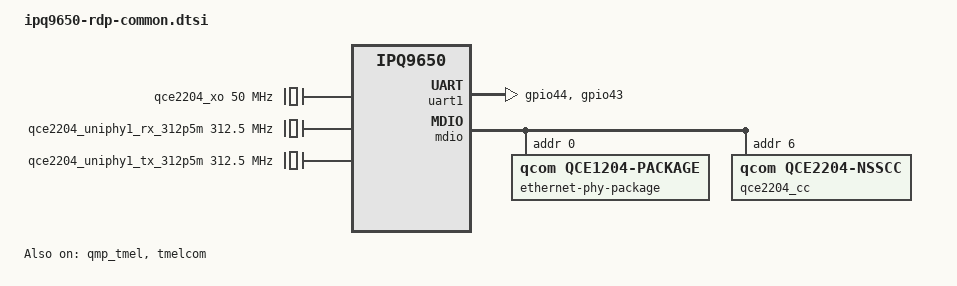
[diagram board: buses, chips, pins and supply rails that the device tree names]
// SPDX-License-Identifier: (GPL-2.0+ OR BSD-3-Clause)
/*
 * IPQ9650 RDP board common device tree source
 *
 * Copyright (c) 2020-2021 The Linux Foundation. All rights reserved.
 * Copyright (c) Qualcomm Technologies, Inc. and/or its subsidiaries.
 */

/dts-v1/;

#include <dt-bindings/clock/qcom,qce2204-nsscc.h>
#include <dt-bindings/reset/qcom,qce2204-nsscc.h>
#include <dt-bindings/gpio/gpio.h>
#include <dt-bindings/input/input.h>

#include "ipq9650.dtsi"

/ {
	aliases {
		serial0 = &uart1;
	};

	chosen {
		stdout-path = "serial0";
		bootargs-append = " clk_ignore_unused";
	};

	clocks {
		qce2204_xo: qce2204-xo {
			compatible = "fixed-clock";
			clock-frequency = <50000000>;
			#clock-cells = <0>;
		};

		qce2204_uniphy1_rx_312p5m: qce2204-uniphy1-rx-312p5m {
			compatible = "fixed-clock";
			clock-frequency = <312500000>;
			#clock-cells = <0>;
		};

		qce2204_uniphy1_tx_312p5m: qce2204-uniphy1-tx-312p5m {
			compatible = "fixed-clock";
			clock-frequency = <312500000>;
			#clock-cells = <0>;
		};
	};

	gpio-keys {
		compatible = "gpio-keys";
		pinctrl-0 = <&gpio_keys_default>;
		pinctrl-names = "default";
		status = "disabled";

		button-wps {
			label = "wps";
			linux,code = <KEY_WPS_BUTTON>;
			gpios = <&tlmm 19 GPIO_ACTIVE_LOW>;
			debounce-interval = <60>;
		};
	};

	soc@0 {
		qupv3: geniqup@1ac0000 {
			status = "okay";

			uart1: serial@1a98000 {
				pinctrl-0 = <&qup_uart1_default>;
				pinctrl-names = "default";
				status = "okay";
			};
		};

		mdio: mdio@90000 {
			phy-reset-gpio = <&tlmm 18 GPIO_ACTIVE_LOW>;
			status = "okay";

			ethernet-phy-package@0 {
				compatible = "qcom,qce1204-package";
				#address-cells = <1>;
				#size-cells = <0>;
				reg = <0>;
				qcom,package-mode = "qusgmii";
				clocks = <&qce2204_cc QCE2204_NSSCC_SRDS1_SYS_CLK>,
					 <&qce2204_cc QCE2204_NSSCC_MAC1_SRDS1_CH0_TX_CLK>,
					 <&qce2204_cc QCE2204_NSSCC_MAC1_SRDS1_CH0_RX_CLK>,
					 <&qce2204_cc QCE2204_NSSCC_MAC0_1_SRDS1_CH0_XGMII_TX_CLK>,
					 <&qce2204_cc QCE2204_NSSCC_MAC0_1_SRDS1_CH0_XGMII_RX_CLK>,
					 <&qce2204_cc QCE2204_NSSCC_MAC2_SRDS1_CH1_TX_CLK>,
					 <&qce2204_cc QCE2204_NSSCC_MAC2_SRDS1_CH1_RX_CLK>,
					 <&qce2204_cc QCE2204_NSSCC_MAC2_SRDS1_CH1_XGMII_TX_CLK>,
					 <&qce2204_cc QCE2204_NSSCC_MAC2_SRDS1_CH1_XGMII_RX_CLK>,
					 <&qce2204_cc QCE2204_NSSCC_MAC3_SRDS1_CH2_TX_CLK>,
					 <&qce2204_cc QCE2204_NSSCC_MAC3_SRDS1_CH2_RX_CLK>,
					 <&qce2204_cc QCE2204_NSSCC_MAC3_SRDS1_CH2_XGMII_TX_CLK>,
					 <&qce2204_cc QCE2204_NSSCC_MAC3_SRDS1_CH2_XGMII_RX_CLK>,
					 <&qce2204_cc QCE2204_NSSCC_MAC4_SRDS1_CH3_TX_CLK>,
					 <&qce2204_cc QCE2204_NSSCC_MAC4_SRDS1_CH3_RX_CLK>,
					 <&qce2204_cc QCE2204_NSSCC_MAC4_SRDS1_CH3_XGMII_TX_CLK>,
					 <&qce2204_cc QCE2204_NSSCC_MAC4_SRDS1_CH3_XGMII_RX_CLK>,
					 <&qce2204_cc QCE2204_NSSCC_AHB_CLK>,
					 <&qce2204_uniphy1_rx_312p5m>,
					 <&qce2204_uniphy1_tx_312p5m>;
				clock-names = "pcs_sys_clk",
					      "ch0_gmii_tx_clk",
					      "ch0_gmii_rx_clk",
					      "ch0_xgmii_tx_clk",
					      "ch0_xgmii_rx_clk",
					      "ch1_gmii_tx_clk",
					      "ch1_gmii_rx_clk",
					      "ch1_xgmii_tx_clk",
					      "ch1_xgmii_rx_clk",
					      "ch2_gmii_tx_clk",
					      "ch2_gmii_rx_clk",
					      "ch2_xgmii_tx_clk",
					      "ch2_xgmii_rx_clk",
					      "ch3_gmii_tx_clk",
					      "ch3_gmii_rx_clk",
					      "ch3_xgmii_tx_clk",
					      "ch3_xgmii_rx_clk",
					      "ahb_clk",
					      "tx_parent",
					      "rx_parent";
				resets = <&qce2204_cc QCE2204_NSSCC_SRDS1_SYS_ARES>,
					 <&qce2204_cc QCE2204_NSSCC_MAC1_SRDS1_CH0_TX_ARES>,
					 <&qce2204_cc QCE2204_NSSCC_MAC1_SRDS1_CH0_RX_ARES>,
					 <&qce2204_cc QCE2204_NSSCC_MAC0_1_SRDS1_CH0_XGMII_TX_ARES>,
					 <&qce2204_cc QCE2204_NSSCC_MAC0_1_SRDS1_CH0_XGMII_RX_ARES>,
					 <&qce2204_cc QCE2204_NSSCC_MAC2_SRDS1_CH1_TX_ARES>,
					 <&qce2204_cc QCE2204_NSSCC_MAC2_SRDS1_CH1_RX_ARES>,
					 <&qce2204_cc QCE2204_NSSCC_MAC2_SRDS1_CH1_XGMII_TX_ARES>,
					 <&qce2204_cc QCE2204_NSSCC_MAC2_SRDS1_CH1_XGMII_RX_ARES>,
					 <&qce2204_cc QCE2204_NSSCC_MAC3_SRDS1_CH2_TX_ARES>,
					 <&qce2204_cc QCE2204_NSSCC_MAC3_SRDS1_CH2_RX_ARES>,
					 <&qce2204_cc QCE2204_NSSCC_MAC3_SRDS1_CH2_XGMII_TX_ARES>,
					 <&qce2204_cc QCE2204_NSSCC_MAC3_SRDS1_CH2_XGMII_RX_ARES>,
					 <&qce2204_cc QCE2204_NSSCC_MAC4_SRDS1_CH3_TX_ARES>,
					 <&qce2204_cc QCE2204_NSSCC_MAC4_SRDS1_CH3_RX_ARES>,
					 <&qce2204_cc QCE2204_NSSCC_MAC4_SRDS1_CH3_XGMII_TX_ARES>,
					 <&qce2204_cc QCE2204_NSSCC_MAC4_SRDS1_CH3_XGMII_RX_ARES>,
					 <&qce2204_cc QCE2204_NSSCC_SRDS1_XPCS_ARES>;
				reset-names = "pcs_sys_reset",
					      "ch0_gmii_tx_reset",
					      "ch0_gmii_rx_reset",
					      "ch0_xgmii_tx_reset",
					      "ch0_xgmii_rx_reset",
					      "ch1_gmii_tx_reset",
					      "ch1_gmii_rx_reset",
					      "ch1_xgmii_tx_reset",
					      "ch1_xgmii_rx_reset",
					      "ch2_gmii_tx_reset",
					      "ch2_gmii_rx_reset",
					      "ch2_xgmii_tx_reset",
					      "ch2_xgmii_rx_reset",
					      "ch3_gmii_tx_reset",
					      "ch3_gmii_rx_reset",
					      "ch3_xgmii_tx_reset",
					      "ch3_xgmii_rx_reset",
					      "xpcs";

				phy0: ethernet-phy@0 {
					compatible = "ethernet-phy-ieee802.3-c45";
					reg = <0x0>;
					clocks = <&qce2204_cc QCE2204_NSSCC_MAC1_GEPHY0_TX_CLK>,
						 <&qce2204_cc QCE2204_NSSCC_MAC1_GEPHY0_RX_CLK>,
						 <&qce2204_cc QCE2204_NSSCC_GEPHY0_SYS_CLK>,
						 <&qce2204_cc QCE2204_NSSCC_MAC1_TX_CLK_SRC>,
						 <&qce2204_cc QCE2204_NSSCC_MAC1_RX_CLK_SRC>;
					clock-names = "tx_clk", "rx_clk", "sys_clk", "tx_src_clk", "rx_src_clk";
					resets = <&qce2204_cc QCE2204_NSSCC_MAC1_GEPHY0_TX_ARES>,
						 <&qce2204_cc QCE2204_NSSCC_MAC1_GEPHY0_RX_ARES>,
						 <&qce2204_cc QCE2204_NSSCC_GEPHY0_SYS_ARES>;
					reset-names = "tx_reset", "rx_reset", "sys_reset";
				};

				phy1: ethernet-phy@1 {
					compatible = "ethernet-phy-ieee802.3-c45";
					reg = <0x1>;
					clocks = <&qce2204_cc QCE2204_NSSCC_MAC2_GEPHY1_TX_CLK>,
						 <&qce2204_cc QCE2204_NSSCC_MAC2_GEPHY1_RX_CLK>,
						 <&qce2204_cc QCE2204_NSSCC_GEPHY1_SYS_CLK>,
						 <&qce2204_cc QCE2204_NSSCC_MAC2_TX_CLK_SRC>,
						 <&qce2204_cc QCE2204_NSSCC_MAC2_RX_CLK_SRC>;
					clock-names = "tx_clk", "rx_clk", "sys_clk", "tx_src_clk", "rx_src_clk";
					resets = <&qce2204_cc QCE2204_NSSCC_MAC2_GEPHY1_TX_ARES>,
						 <&qce2204_cc QCE2204_NSSCC_MAC2_GEPHY1_RX_ARES>,
						 <&qce2204_cc QCE2204_NSSCC_GEPHY1_SYS_ARES>;
					reset-names = "tx_reset", "rx_reset", "sys_reset";
				};

				phy2: ethernet-phy@2 {
					compatible = "ethernet-phy-ieee802.3-c45";
					reg = <0x2>;
					clocks = <&qce2204_cc QCE2204_NSSCC_MAC3_GEPHY2_TX_CLK>,
						 <&qce2204_cc QCE2204_NSSCC_MAC3_GEPHY2_RX_CLK>,
						 <&qce2204_cc QCE2204_NSSCC_GEPHY2_SYS_CLK>,
						 <&qce2204_cc QCE2204_NSSCC_MAC3_TX_CLK_SRC>,
						 <&qce2204_cc QCE2204_NSSCC_MAC3_RX_CLK_SRC>;
					clock-names = "tx_clk", "rx_clk", "sys_clk", "tx_src_clk", "rx_src_clk";
					resets = <&qce2204_cc QCE2204_NSSCC_MAC3_GEPHY2_TX_ARES>,
						 <&qce2204_cc QCE2204_NSSCC_MAC3_GEPHY2_RX_ARES>,
						 <&qce2204_cc QCE2204_NSSCC_GEPHY2_SYS_ARES>;
					reset-names = "tx_reset", "rx_reset", "sys_reset";
				};

				phy3: ethernet-phy@3 {
					compatible = "ethernet-phy-ieee802.3-c45";
					reg = <0x3>;
					clocks = <&qce2204_cc QCE2204_NSSCC_MAC4_GEPHY3_TX_CLK>,
						 <&qce2204_cc QCE2204_NSSCC_MAC4_GEPHY3_RX_CLK>,
						 <&qce2204_cc QCE2204_NSSCC_GEPHY3_SYS_CLK>,
						 <&qce2204_cc QCE2204_NSSCC_MAC4_TX_CLK_SRC>,
						 <&qce2204_cc QCE2204_NSSCC_MAC4_RX_CLK_SRC>;
					clock-names = "tx_clk", "rx_clk", "sys_clk", "tx_src_clk", "rx_src_clk";
					resets = <&qce2204_cc QCE2204_NSSCC_MAC4_GEPHY3_TX_ARES>,
						 <&qce2204_cc QCE2204_NSSCC_MAC4_GEPHY3_RX_ARES>,
						 <&qce2204_cc QCE2204_NSSCC_GEPHY3_SYS_ARES>;
					reset-names = "tx_reset", "rx_reset", "sys_reset";
				};
			};

			/* Clock controller */
			qce2204_cc: clock-controller@6 {
				compatible = "qcom,qce2204-nsscc";
				reg = <6>;
				#clock-cells = <1>;
				#reset-cells = <1>;
				clocks = <&qce2204_xo>,
					 <0>, <0>,
					 <0>, <0>,
					 <0>,
					 <0>, <0>,
					 <&qce2204_uniphy1_rx_312p5m>,
					 <&qce2204_uniphy1_tx_312p5m>;
				clock-names = "xo",
					      "uniphy0_rx", "uniphy0_tx",
					      "uniphy1_rx", "uniphy1_tx",
					      "uniphy1_ppe_250m",
					      "uniphy0_rx_312p5m",
					      "uniphy0_tx_312p5m",
					      "uniphy1_rx_312p5m",
					      "uniphy1_tx_312p5m";
				assigned-clocks = <&qce2204_cc QCE2204_NSSCC_SRDS1_RX_MUX_SEL>,
						  <&qce2204_cc QCE2204_NSSCC_SRDS1_TX_MUX_SEL>,
						  <&qce2204_cc QCE2204_NSSCC_SRDS1_XGMII_RX_MUX_SEL>,
						  <&qce2204_cc QCE2204_NSSCC_SRDS1_XGMII_TX_MUX_SEL>;
				assigned-clock-parents = <&qce2204_cc QCE2204_NSSCC_MAC1_TX_DIV_CLK_SRC>,
							 <&qce2204_cc QCE2204_NSSCC_MAC1_RX_DIV_CLK_SRC>,
							 <&qce2204_cc QCE2204_NSSCC_MAC1_SRDS1_CH0_XGMII_RX_DIV_CLK_SRC>,
							 <&qce2204_cc QCE2204_NSSCC_MAC1_SRDS1_CH0_XGMII_TX_DIV_CLK_SRC>;
			};
		};

		ess-instance {
			num_devices = <0x1>;

			ess_switch: ess-switch@2a000000 {
				switch_mac_mode = <0x15>; /* mac mode for qce1204 QUSGMII. */
				qcom,port_phyinfo {
					port@0 {
						port_id = <1>;
						phy_address = <0>;
						phy-handle = <&phy0>;
						phy-mode = "qusgmii";
						ethernet-phy-ieee802.3-c45;
					};

					port@1 {
						port_id = <2>;
						phy_address = <1>;
						phy-handle = <&phy1>;
						phy-mode = "qusgmii";
						ethernet-phy-ieee802.3-c45;
					};

					port@2 {
						port_id = <3>;
						phy_address = <2>;
						phy-handle = <&phy2>;
						phy-mode = "qusgmii";
						ethernet-phy-ieee802.3-c45;
					};

					port@3 {
						port_id = <4>;
						phy_address = <3>;
						phy-handle = <&phy3>;
						phy-mode = "qusgmii";
						ethernet-phy-ieee802.3-c45;
					};
				};
			};
		};
	};
};

&sleep_clk {
	clock-frequency = <32000>;
};

&xo {
	clock-frequency = <24000000>;
};

&tlmm {
	gpio_keys_default: gpio-keys-default-state {
		pins = "gpio19";
		function = "gpio";
		drive-strength = <8>;
		bias-pull-down;
	};

	qup_i2c2_default: qup-i2c2-default-state {
		qup_i2c2_scl {
			pins = "gpio16";
			function = "qup_se3_l1";
			drive-strength = <8>;
			bias-pull-up;
		};
		qup_i2c2_sda {
			pins = "gpio17";
			function = "qup_se3_l0";
			drive-strength = <8>;
			bias-pull-up;
		};
	};

	qup_spi0_default: qup-spi0-default-state {
		qup_spi0_clk {
			pins = "gpio6";
			function = "qup_se0_l2";
			drive-strength = <8>;
			bias-pull-down;
		};

		qup_spi0_cs {
			pins = "gpio7";
			function = "qup_se0_l3";
			drive-strength = <8>;
			bias-pull-down;
		};

		qup_spi0_miso {
			pins = "gpio8";
			function = "qup_se0_l0";
			drive-strength = <8>;
			bias-pull-down;
		};

		qup_spi0_mosi {
			pins = "gpio9";
			function = "qup_se0_l1";
			drive-strength = <8>;
			bias-pull-down;
		};
	};

	qup_uart1_default: qup-uart1-default-state {
		qup_uart1_tx: tx-pins {
			pins = "gpio44";
			function = "qup_se6_l2";
			drive-strength = <8>;
			bias-pull-down;
		};

		qup_uart1_rx: rx-pins {
			pins = "gpio43";
			function = "qup_se6_l3";
			drive-strength = <8>;
			bias-pull-down;
		};
	};
};

&ref_48mhz_clk {
	clock-div = <1>;
	clock-mult = <1>;
};

&xo_clk {
	clock-frequency = <48000000>;
};

&qmp_tmel {
	status = "okay";
};

&tmelcom {
	status = "okay";
};

&apps_iommu {
	status = "okay";
};
